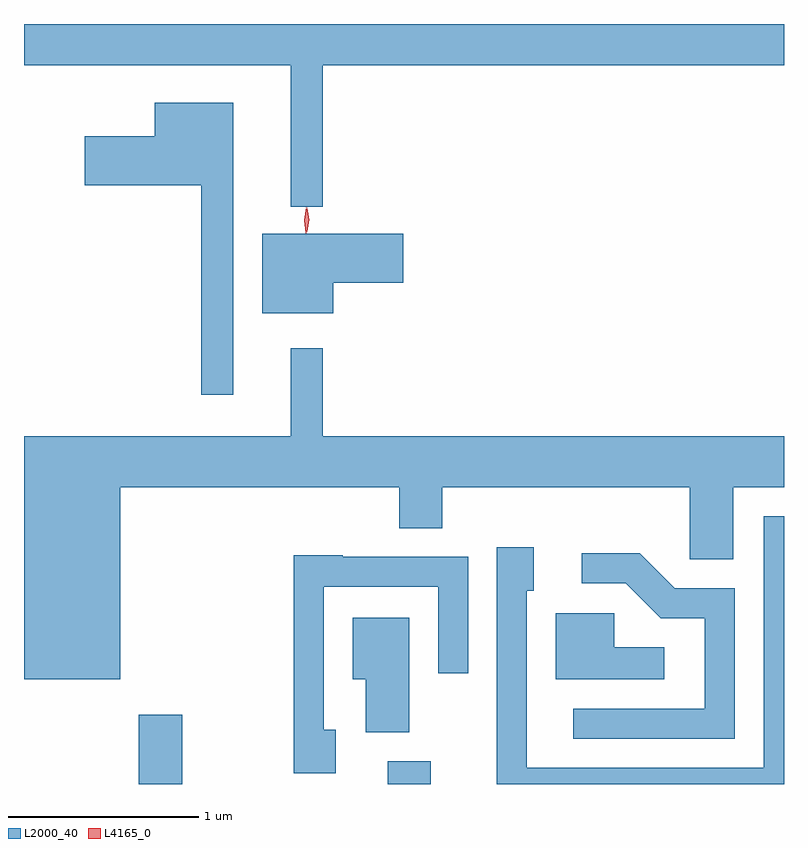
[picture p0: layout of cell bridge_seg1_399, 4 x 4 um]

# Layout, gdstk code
import gdstk
lib = gdstk.Library(unit=1e-6, precision=1e-09)
def R(c, l, rs):  # rectangles x0, y0, x1, y1
    for r in rs: c.add(gdstk.rectangle(r[:2], r[2:], *l))
def P(c, l, *ps):  # polygons
    for p in ps: c.add(gdstk.Polygon(p, *l))
L2000_40 = (2000, 40)
L4165_0 = (4165, 0)

bridge_seg1_399 = lib.new_cell('bridge_seg1_399')
R(bridge_seg1_399, L2000_40, [(602.231,937.974,602.459,938.339), (603.541,937.974,603.769,938.094)])
P(bridge_seg1_399, L2000_40, [(603.199,941.756),(605.627,941.756),(605.627,941.974),(601.627,941.974),(601.627,941.756),(603.031,941.756),(603.031,941.013),(603.199,941.013)],
  [(602.729,941.559),(602.316,941.559),(602.316,941.384),(601.946,941.384),(601.946,941.126),(602.561,941.126),(602.561,940.023),(602.729,940.023)],
  [(603.254,940.611),(603.624,940.611),(603.624,940.869),(602.881,940.869),(602.881,940.451),(603.254,940.451)],
  [(602.134,939.536),(603.601,939.536),(603.601,939.321),(603.829,939.321),(603.829,939.536),(605.131,939.536),(605.131,939.156),(605.359,939.156),(605.359,939.536),(605.627,939.536),(605.627,939.804),(603.199,939.804),(603.199,940.268),(603.031,940.268),(603.031,939.804),(601.627,939.804),(601.627,938.526),(602.134,938.526)],
  [(605.627,939.384),(605.521,939.384),(605.521,938.059),(604.274,938.059),(604.274,938.991),(604.309,938.991),(604.309,939.219),(604.116,939.219),(604.116,937.974),(605.627,937.974)],
  [(605.369,939.004),(605.052,939.004),(604.867,939.189),(604.563,939.189),(604.563,939.031),(604.794,939.031),(604.979,938.846),(605.211,938.846),(605.211,938.369),(604.518,938.369),(604.518,938.211),(605.369,938.211)],
  [(603.269,938.259),(603.204,938.259),(603.204,939.011),(603.806,939.011),(603.806,938.558),(603.964,938.558),(603.964,939.169),(603.305,939.169),(603.305,939.179),(603.046,939.179),(603.046,938.031),(603.269,938.031)],
  [(604.998,938.694),(604.734,938.694),(604.734,938.874),(604.426,938.874),(604.426,938.526),(604.998,938.526)],
  [(603.654,938.849),(603.356,938.849),(603.356,938.526),(603.426,938.526),(603.426,938.246),(603.654,938.246)])
P(bridge_seg1_399, L4165_0, [(603.111,940.874),(603.111,940.874),(603.102,940.942),(603.112,941.01),(603.113,941.01),(603.113,941.01),(603.122,940.942),(603.112,940.874)],
  [(603.117,940.88),(603.108,940.943),(603.117,941.006),(603.118,941.007),(603.118,941.006),(603.128,940.943),(603.118,940.88),(603.118,940.88)])

lib.write_gds('bridge_seg1_399.gds')
